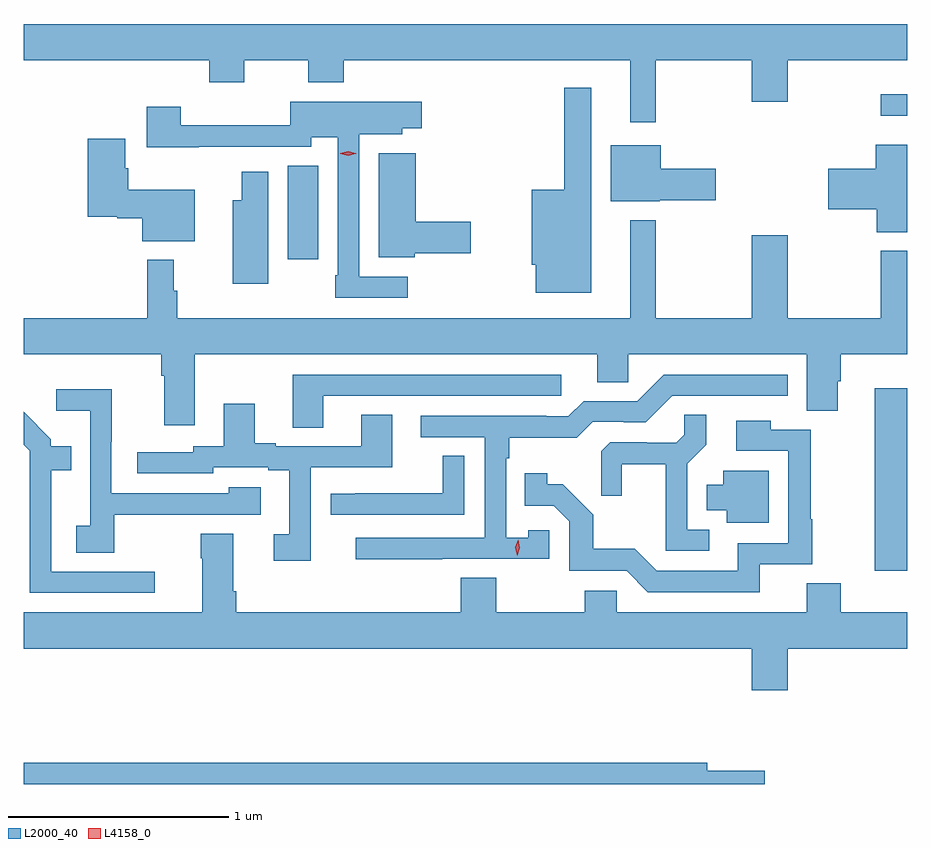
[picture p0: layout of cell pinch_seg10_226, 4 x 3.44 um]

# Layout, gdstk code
import gdstk
lib = gdstk.Library(unit=1e-6, precision=1e-09)
def R(c, l, rs):  # rectangles x0, y0, x1, y1
    for r in rs: c.add(gdstk.rectangle(r[:2], r[2:], *l))
def P(c, l, *ps):  # polygons
    for p in ps: c.add(gdstk.Polygon(p, *l))
L2000_40 = (2000, 40)
L4158_0 = (4158, 0)

pinch_seg10_226 = lib.new_cell('pinch_seg10_226')
R(pinch_seg10_226, L2000_40, [(618.452,1295.418,618.589,1295.843), (621.135,1296.068,621.256,1296.166)])
P(pinch_seg10_226, L2000_40, [(620.117,1296.32),(620.552,1296.32),(620.552,1296.132),(620.716,1296.132),(620.716,1296.32),(621.256,1296.32),(621.256,1296.484),(617.256,1296.484),(617.256,1296.32),(618.095,1296.32),(618.095,1296.221),(618.255,1296.221),(618.255,1296.32),(618.544,1296.32),(618.544,1296.221),(618.704,1296.221),(618.704,1296.32),(620.003,1296.32),(620.003,1296.039),(620.117,1296.039)],
  [(619.825,1296.196),(619.704,1296.196),(619.704,1295.734),(619.556,1295.734),(619.556,1295.394),(619.574,1295.394),(619.574,1295.267),(619.825,1295.267)],
  [(618.994,1295.34),(618.774,1295.34),(618.774,1295.984),(618.969,1295.984),(618.969,1296.011),(619.057,1296.011),(619.057,1296.133),(618.462,1296.133),(618.462,1296.026),(617.966,1296.026),(617.966,1296.109),(617.813,1296.109),(617.813,1295.927),(618.049,1295.927),(618.049,1295.928),(618.558,1295.928),(618.558,1295.972),(618.678,1295.972),(618.678,1295.347),(618.666,1295.347),(618.666,1295.244),(618.994,1295.244)],
  [(618.031,1295.734),(617.729,1295.734),(617.729,1295.831),(617.716,1295.831),(617.716,1295.965),(617.546,1295.965),(617.546,1295.612),(617.679,1295.612),(617.679,1295.605),(617.792,1295.605),(617.792,1295.501),(618.031,1295.501)],
  [(621.256,1295.938),(621.113,1295.938),(621.113,1295.828),(620.898,1295.828),(620.898,1295.645),(621.118,1295.645),(621.118,1295.542),(621.256,1295.542)],
  [(620.136,1295.687),(620.389,1295.687),(620.389,1295.829),(620.14,1295.829),(620.14,1295.935),(619.913,1295.935),(619.913,1295.681),(620.136,1295.681)],
  [(619.026,1295.446),(619.279,1295.446),(619.279,1295.588),(619.03,1295.588),(619.03,1295.899),(618.863,1295.899),(618.863,1295.429),(619.026,1295.429)],
  [(618.364,1295.815),(618.242,1295.815),(618.242,1295.686),(618.203,1295.686),(618.203,1295.309),(618.364,1295.309)],
  [(618.031,1294.988),(619.853,1294.988),(619.853,1294.861),(619.992,1294.861),(619.992,1294.988),(620.801,1294.988),(620.801,1294.732),(620.941,1294.732),(620.941,1294.866),(620.954,1294.866),(620.954,1294.988),(621.256,1294.988),(621.256,1295.457),(621.136,1295.457),(621.136,1295.152),(620.716,1295.152),(620.716,1295.527),(620.552,1295.527),(620.552,1295.152),(620.117,1295.152),(620.117,1295.596),(620.003,1295.596),(620.003,1295.152),(617.951,1295.152),(617.951,1295.276),(617.936,1295.276),(617.936,1295.416),(617.815,1295.416),(617.815,1295.152),(617.256,1295.152),(617.256,1294.988),(617.879,1294.988),(617.879,1294.892),(617.891,1294.892),(617.891,1294.668),(618.031,1294.668)],
  [(619.151,1294.062),(619.635,1294.062),(619.635,1294.191),(619.539,1294.191),(619.539,1294.159),(619.44,1294.159),(619.44,1294.517),(619.453,1294.517),(619.453,1294.61),(619.76,1294.61),(619.833,1294.683),(619.972,1294.683),(619.972,1294.68),(620.073,1294.68),(620.193,1294.8),(620.716,1294.8),(620.716,1294.896),(620.154,1294.896),(620.034,1294.776),(619.791,1294.776),(619.722,1294.707),(619.622,1294.707),(619.622,1294.71),(619.053,1294.71),(619.053,1294.614),(619.344,1294.614),(619.344,1294.158),(618.759,1294.158),(618.759,1294.06),(619.151,1294.06)],
  [(618.613,1294.8),(619.69,1294.8),(619.69,1294.896),(618.473,1294.896),(618.473,1294.657),(618.613,1294.657)],
  [(621.256,1294.834),(621.11,1294.834),(621.11,1294.347),(621.109,1294.347),(621.109,1294.008),(621.256,1294.008)],
  [(617.665,1294.261),(617.969,1294.261),(617.969,1294.263),(618.328,1294.263),(618.328,1294.387),(618.183,1294.387),(618.183,1294.359),(617.652,1294.359),(617.652,1294.592),(617.655,1294.592),(617.655,1294.831),(617.403,1294.831),(617.403,1294.733),(617.556,1294.733),(617.556,1294.212),(617.493,1294.212),(617.493,1294.09),(617.665,1294.09)],
  [(618.555,1294.476),(618.925,1294.476),(618.925,1294.715),(618.785,1294.715),(618.785,1294.572),(618.397,1294.572),(618.397,1294.585),(618.301,1294.585),(618.301,1294.765),(618.161,1294.765),(618.161,1294.572),(618.024,1294.572),(618.024,1294.545),(617.769,1294.545),(617.769,1294.449),(618.114,1294.449),(618.114,1294.476),(618.362,1294.476),(618.362,1294.464),(618.458,1294.464),(618.458,1294.173),(618.387,1294.173),(618.387,1294.053),(618.555,1294.053)],
  [(617.848,1294.005),(617.38,1294.005),(617.38,1294.464),(617.471,1294.464),(617.471,1294.573),(617.379,1294.573),(617.379,1294.605),(617.256,1294.728),(617.256,1294.578),(617.283,1294.551),(617.283,1293.909),(617.848,1293.909)],
  [(620.359,1294.194),(620.259,1294.194),(620.259,1294.493),(620.345,1294.579),(620.345,1294.715),(620.247,1294.715),(620.247,1294.624),(620.21,1294.587),(620.076,1294.587),(620.076,1294.59),(619.911,1294.59),(619.87,1294.549),(619.87,1294.347),(619.964,1294.347),(619.964,1294.49),(620.162,1294.49),(620.162,1294.098),(620.359,1294.098)],
  [(620.588,1294.038),(620.827,1294.038),(620.827,1294.241),(620.819,1294.241),(620.819,1294.647),(620.637,1294.647),(620.637,1294.687),(620.481,1294.687),(620.481,1294.551),(620.718,1294.551),(620.718,1294.134),(620.489,1294.134),(620.489,1294.008),(620.121,1294.008),(620.023,1294.107),(619.834,1294.107),(619.834,1294.262),(619.696,1294.4),(619.626,1294.4),(619.626,1294.45),(619.525,1294.45),(619.525,1294.302),(619.656,1294.302),(619.725,1294.233),(619.725,1294.008),(619.986,1294.008),(620.082,1293.912),(620.588,1293.912)],
  [(619.251,1294.529),(619.153,1294.529),(619.153,1294.359),(618.757,1294.359),(618.757,1294.358),(618.645,1294.358),(618.645,1294.263),(619.251,1294.263)],
  [(620.629,1294.462),(620.423,1294.462),(620.423,1294.399),(620.348,1294.399),(620.348,1294.283),(620.438,1294.283),(620.438,1294.226),(620.629,1294.226)],
  [(620.716,1293.656),(621.256,1293.656),(621.256,1293.82),(620.954,1293.82),(620.954,1293.953),(620.801,1293.953),(620.801,1293.82),(619.941,1293.82),(619.941,1293.918),(619.795,1293.918),(619.795,1293.82),(619.395,1293.82),(619.395,1293.977),(619.235,1293.977),(619.235,1293.82),(618.218,1293.82),(618.218,1293.916),(618.205,1293.916),(618.205,1294.177),(618.058,1294.177),(618.058,1294.064),(618.065,1294.064),(618.065,1293.82),(617.256,1293.82),(617.256,1293.656),(620.552,1293.656),(620.552,1293.468),(620.716,1293.468)],
  [(620.611,1293.104),(620.35,1293.104),(620.35,1293.14),(617.256,1293.14),(617.256,1293.043),(620.611,1293.043)])
P(pinch_seg10_226, L4158_0, [(619.491,1294.077),(619.491,1294.077),(619.482,1294.114),(619.494,1294.149),(619.494,1294.149),(619.494,1294.149),(619.502,1294.113),(619.491,1294.077)],
  [(618.725,1295.887),(618.69,1295.897),(618.69,1295.897),(618.69,1295.898),(618.725,1295.907),(618.76,1295.898),(618.761,1295.897),(618.76,1295.897)])

lib.write_gds('pinch_seg10_226.gds')
